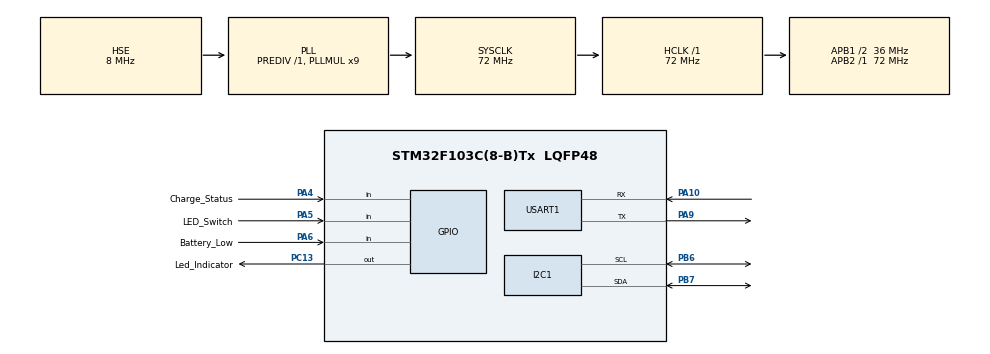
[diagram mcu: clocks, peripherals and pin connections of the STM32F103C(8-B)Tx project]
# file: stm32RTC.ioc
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Mcu.Family=STM32F1
Mcu.Name=STM32F103C(8-B)Tx
Mcu.Package=LQFP48
NVIC.PriorityGroup=NVIC_PRIORITYGROUP_4
PA10.Mode=Asynchronous
PA10.Signal=USART1_RX
PA13.Mode=Serial_Wire
PA13.Signal=SYS_JTMS-SWDIO
PA14.Mode=Serial_Wire
PA14.Signal=SYS_JTCK-SWCLK
PA4.GPIO_Label=Charge_Status
PA4.GPIO_PuPd=GPIO_PULLUP
PA4.Signal=GPIO_Input
PA5.GPIO_Label=LED_Switch
PA5.GPIO_PuPd=GPIO_PULLUP
PA5.Signal=GPIO_Input
PA6.GPIO_Label=Battery_Low
PA6.GPIO_PuPd=GPIO_PULLUP
PA6.Signal=GPIO_Input
PA9.Mode=Asynchronous
PA9.Signal=USART1_TX
PB6.Mode=I2C
PB6.Signal=I2C1_SCL
PB7.Mode=I2C
PB7.Signal=I2C1_SDA
PC13-TAMPER-RTC.GPIO_Label=Led_Indicator
PC13-TAMPER-RTC.GPIO_Speed=GPIO_SPEED_FREQ_LOW
PC13-TAMPER-RTC.PinState=GPIO_PIN_SET
PC13-TAMPER-RTC.Signal=GPIO_Output
PC14-OSC32_IN.Mode=LSE-External-Oscillator
PC14-OSC32_IN.Signal=RCC_OSC32_IN
PC15-OSC32_OUT.Mode=LSE-External-Oscillator
PC15-OSC32_OUT.Signal=RCC_OSC32_OUT
PD0-OSC_IN.Mode=HSE-External-Oscillator
PD0-OSC_IN.Signal=RCC_OSC_IN
PD1-OSC_OUT.Mode=HSE-External-Oscillator
PD1-OSC_OUT.Signal=RCC_OSC_OUT
ProjectManager.HeapSize=0x200
ProjectManager.StackSize=0x400
ProjectManager.TargetToolchain=SW4STM32
RCC.AHBFreq_Value=72000000
RCC.APB1CLKDivider=RCC_HCLK_DIV2
RCC.APB1Freq_Value=36000000
RCC.APB1TimFreq_Value=72000000
RCC.APB2Freq_Value=72000000
RCC.APB2TimFreq_Value=72000000
RCC.EnbaleCSS=true
RCC.HCLKFreq_Value=72000000
RCC.PLLMUL=RCC_PLL_MUL9
RCC.PLLSourceVirtual=RCC_PLLSOURCE_HSE
RCC.RTCClockSelection=RCC_RTCCLKSOURCE_LSE
RCC.SYSCLKFreq_VALUE=72000000
RCC.SYSCLKSource=RCC_SYSCLKSOURCE_PLLCLK
RCC.USBFreq_Value=72000000
RTC.Date=29
RTC.Format=RTC_FORMAT_BIN
RTC.Hours=3
RTC.Minutes=43
RTC.Month=RTC_MONTH_APRIL
RTC.WeekDay=RTC_WEEKDAY_SATURDAY
USART1.VirtualMode=VM_ASYNC
VP_RTC_VS_RTC_Activate.Mode=RTC_Enabled
VP_RTC_VS_RTC_Calendar.Mode=RTC_Calendar
board=stm32RTC

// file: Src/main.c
/**
  ******************************************************************************
  * File Name          : main.c
  * Description        : Main program body
  ******************************************************************************
  *
  * COPYRIGHT(c) 2017 STMicroelectronics
  *
  * Redistribution and use in source and binary forms, with or without modification,
  * are permitted provided that the following conditions are met:
  *   1. Redistributions of source code must retain the above copyright notice,
  *      this list of conditions and the following disclaimer.
  *   2. Redistributions in binary form must reproduce the above copyright notice,
  *      this list of conditions and the following disclaimer in the documentation
  *      and/or other materials provided with the distribution.
  *   3. Neither the name of STMicroelectronics nor the names of its contributors
  *      may be used to endorse or promote products derived from this software
  *      without specific prior written permission.
  *
  * THIS SOFTWARE IS PROVIDED BY THE COPYRIGHT HOLDERS AND CONTRIBUTORS "AS IS"
  * AND ANY EXPRESS OR IMPLIED WARRANTIES, INCLUDING, BUT NOT LIMITED TO, THE
  * IMPLIED WARRANTIES OF MERCHANTABILITY AND FITNESS FOR A PARTICULAR PURPOSE ARE
  * DISCLAIMED. IN NO EVENT SHALL THE COPYRIGHT HOLDER OR CONTRIBUTORS BE LIABLE
  * FOR ANY DIRECT, INDIRECT, INCIDENTAL, SPECIAL, EXEMPLARY, OR CONSEQUENTIAL
  * DAMAGES (INCLUDING, BUT NOT LIMITED TO, PROCUREMENT OF SUBSTITUTE GOODS OR
  * SERVICES; LOSS OF USE, DATA, OR PROFITS; OR BUSINESS INTERRUPTION) HOWEVER
  * CAUSED AND ON ANY THEORY OF LIABILITY, WHETHER IN CONTRACT, STRICT LIABILITY,
  * OR TORT (INCLUDING NEGLIGENCE OR OTHERWISE) ARISING IN ANY WAY OUT OF THE USE
  * OF THIS SOFTWARE, EVEN IF ADVISED OF THE POSSIBILITY OF SUCH DAMAGE.
  *
  ******************************************************************************
  */
#include "main.h"
#include "stm32f1xx_hal.h"
#include "i2c.h"
#include "rtc.h"
#include "usart.h"
#include "gpio.h"

/* USER CODE BEGIN Includes */
#include"ssd1306.h"
#include "fonts.h"
#include "stdlib.h"
#include "u8g_arm.h"

/* USER CODE END Includes */

/* USER CODE BEGIN PV */
/* Private variables ---------------------------------------------------------*/
RTC_TimeTypeDef TimeKeep;

uint16_t charge_time_minutes, charge_time_hours, i;
uint16_t charge_time, charge_time_previous, discharge_time,
		discharge_time_previous, battery_low_time1, battery_low_time0;
uint8_t low_flag,cut_flag;

char seconds_s[5], minutes_s[5], hours_s[5], bat_low_s[5];

/* USER CODE END PV */

void SystemClock_Config(void);
void Error_Handler(void);

/* USER CODE BEGIN PFP */
/* Private function prototypes -----------------------------------------------*/

/* USER CODE END PFP */

/* USER CODE BEGIN 0 */

/* USER CODE BEGIN 1 */

/* USER CODE END 0 */

int main(void)
{

  /* MCU Configuration----------------------------------------------------------*/

  /* Reset of all peripherals, Initializes the Flash interface and the Systick. */
  HAL_Init();

  /* Configure the system clock */
  SystemClock_Config();

  /* Initialize all configured peripherals */
  MX_GPIO_Init();
  MX_USART1_UART_Init();
  MX_I2C1_Init();
  MX_RTC_Init();

  /* USER CODE BEGIN 2 */
	ssd1306_Init();

  /* USER CODE END 2 */

  /* Infinite loop */
	while (1) {

  /* USER CODE BEGIN 3 */

		if (HAL_GPIO_ReadPin(Charge_Status_GPIO_Port, Charge_Status_Pin)
				== GPIO_PIN_RESET) {
			HAL_RTC_GetTime(&hrtc, &TimeKeep, RTC_FORMAT_BIN);

			if (charge_time_previous != TimeKeep.Minutes) {
				charge_time++;
				charge_time_previous = TimeKeep.Minutes;
			}

		}

		if (HAL_GPIO_ReadPin(LED_Switch_GPIO_Port, LED_Switch_Pin)
				== GPIO_PIN_RESET) {
			HAL_RTC_GetTime(&hrtc, &TimeKeep, RTC_FORMAT_BIN);

			if (discharge_time_previous != TimeKeep.Minutes) {
				discharge_time++;
				discharge_time_previous = TimeKeep.Minutes;
			}
		}

		if (HAL_GPIO_ReadPin(Battery_Low_GPIO_Port, Battery_Low_Pin)
				== GPIO_PIN_RESET && low_flag == 0) {
			low_flag = 1;
			battery_low_time0 = discharge_time;
		}

		if (HAL_GPIO_ReadPin(LED_Switch_GPIO_Port, LED_Switch_Pin)
				== GPIO_PIN_SET && low_flag == 1 && cut_flag==0) {
			cut_flag=1;
			battery_low_time1=discharge_time-battery_low_time0;

		}

		            itoa(charge_time, minutes_s, 10);
					ssd1306_Fill(Black);
					ssd1306_SetCursor(0, 0);
					ssd1306_WriteString("Charging", Font_11x18, White);
					ssd1306_SetCursor(0, 22);
					ssd1306_WriteString("Time", Font_11x18, White);
					ssd1306_SetCursor(0, 42);
					ssd1306_WriteString(minutes_s, Font_11x18, White);
					ssd1306_UpdateScreen();
					HAL_Delay(1000);

		            itoa(discharge_time, minutes_s, 10);
					ssd1306_Fill(Black);
					ssd1306_SetCursor(0, 0);
					ssd1306_WriteString("Disharging", Font_11x18, White);
					ssd1306_SetCursor(0, 22);
					ssd1306_WriteString("Time", Font_11x18, White);
					ssd1306_SetCursor(0, 42);
					ssd1306_WriteString(minutes_s, Font_11x18, White);
					ssd1306_UpdateScreen();
					HAL_Delay(1000);

		            itoa(battery_low_time0, minutes_s, 10);
					ssd1306_Fill(Black);
					ssd1306_SetCursor(0, 0);
					ssd1306_WriteString("Full to low", Font_11x18, White);
					ssd1306_SetCursor(0, 22);
					ssd1306_WriteString("Time", Font_11x18, White);
					ssd1306_SetCursor(0, 42);
					ssd1306_WriteString(minutes_s, Font_11x18, White);
					ssd1306_UpdateScreen();
					HAL_Delay(1000);

		            itoa(battery_low_time1, minutes_s, 10);
					ssd1306_Fill(Black);
					ssd1306_SetCursor(0, 0);
					ssd1306_WriteString("Low to cut", Font_11x18, White);
					ssd1306_SetCursor(0, 22);
					ssd1306_WriteString("Time", Font_11x18, White);
					ssd1306_SetCursor(0, 42);
					ssd1306_WriteString(minutes_s, Font_11x18, White);
					ssd1306_UpdateScreen();
					HAL_Delay(1000);

	}
  /* USER CODE END 3 */

}

/** System Clock Configuration
*/
void SystemClock_Config(void)
{

  RCC_OscInitTypeDef RCC_OscInitStruct;
  RCC_ClkInitTypeDef RCC_ClkInitStruct;
  RCC_PeriphCLKInitTypeDef PeriphClkInit;

    /**Initializes the CPU, AHB and APB busses clocks
    */
  RCC_OscInitStruct.OscillatorType = RCC_OSCILLATORTYPE_HSE|RCC_OSCILLATORTYPE_LSE;
  RCC_OscInitStruct.HSEState = RCC_HSE_ON;
  RCC_OscInitStruct.HSEPredivValue = RCC_HSE_PREDIV_DIV1;
  RCC_OscInitStruct.LSEState = RCC_LSE_ON;
  RCC_OscInitStruct.HSIState = RCC_HSI_ON;
  RCC_OscInitStruct.PLL.PLLState = RCC_PLL_ON;
  RCC_OscInitStruct.PLL.PLLSource = RCC_PLLSOURCE_HSE;
  RCC_OscInitStruct.PLL.PLLMUL = RCC_PLL_MUL9;
  if (HAL_RCC_OscConfig(&RCC_OscInitStruct) != HAL_OK)
  {
    Error_Handler();
  }

    /**Initializes the CPU, AHB and APB busses clocks
    */
  RCC_ClkInitStruct.ClockType = RCC_CLOCKTYPE_HCLK|RCC_CLOCKTYPE_SYSCLK
                              |RCC_CLOCKTYPE_PCLK1|RCC_CLOCKTYPE_PCLK2;
  RCC_ClkInitStruct.SYSCLKSource = RCC_SYSCLKSOURCE_PLLCLK;
  RCC_ClkInitStruct.AHBCLKDivider = RCC_SYSCLK_DIV1;
  RCC_ClkInitStruct.APB1CLKDivider = RCC_HCLK_DIV2;
  RCC_ClkInitStruct.APB2CLKDivider = RCC_HCLK_DIV1;

  if (HAL_RCC_ClockConfig(&RCC_ClkInitStruct, FLASH_LATENCY_2) != HAL_OK)
  {
    Error_Handler();
  }

  PeriphClkInit.PeriphClockSelection = RCC_PERIPHCLK_RTC;
  PeriphClkInit.RTCClockSelection = RCC_RTCCLKSOURCE_LSE;
  if (HAL_RCCEx_PeriphCLKConfig(&PeriphClkInit) != HAL_OK)
  {
    Error_Handler();
  }

    /**Enables the Clock Security System
    */
  HAL_RCC_EnableCSS();

    /**Configure the Systick interrupt time
    */
  HAL_SYSTICK_Config(HAL_RCC_GetHCLKFreq()/1000);

    /**Configure the Systick
    */
  HAL_SYSTICK_CLKSourceConfig(SYSTICK_CLKSOURCE_HCLK);

  /* SysTick_IRQn interrupt configuration */
  HAL_NVIC_SetPriority(SysTick_IRQn, 0, 0);
}

void Error_Handler(void)
{
  /* USER CODE BEGIN Error_Handler */
	/* User can add his own implementation to report the HAL error return state */
//while(1)
	// {
	HAL_GPIO_WritePin(GPIOC, GPIO_PIN_13, GPIO_PIN_RESET);
	HAL_Delay(1000);
	HAL_GPIO_WritePin(GPIOC, GPIO_PIN_13, GPIO_PIN_SET);
	HAL_Delay(1000);
	//HAL_I2C_DeInit(&SSD1306_I2C_PORT);
	//MX_I2C1_Init();

	// }
  /* USER CODE END Error_Handler */
}

/************************ (C) COPYRIGHT STMicroelectronics *****END OF FILE****/
